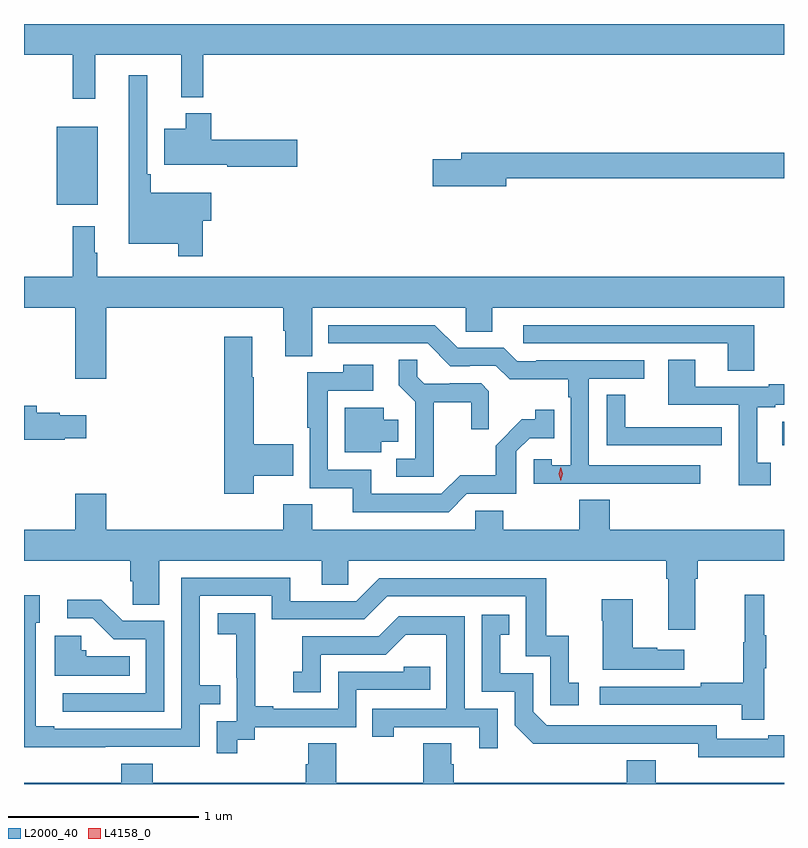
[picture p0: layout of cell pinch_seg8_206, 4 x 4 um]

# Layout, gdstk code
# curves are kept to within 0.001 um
import gdstk
lib = gdstk.Library(unit=1e-6, precision=1e-09)
def R(c, l, rs):  # rectangles x0, y0, x1, y1
    for r in rs: c.add(gdstk.rectangle(r[:2], r[2:], *l))
def P(c, l, *ps):  # polygons
    for p in ps: c.add(gdstk.Polygon(p, *l))
L2000_40 = (2000, 40)
L4158_0 = (4158, 0)

pinch_seg8_206 = lib.new_cell('pinch_seg8_206')
R(pinch_seg8_206, L2000_40, [(636.261,1097.127,636.271,1097.251), (632.444,1098.395,632.659,1098.805)])
P(pinch_seg8_206, L2000_40, [(636.271,1099.345),(632.271,1099.345),(632.271,1099.184),(632.527,1099.184),(632.527,1098.951),(632.645,1098.951),(632.645,1099.184),(633.098,1099.184),(633.098,1098.959),(633.215,1098.959),(633.215,1099.184),(636.271,1099.184)],
  [(633.212,1098.31),(633.256,1098.31),(633.256,1098.457),(632.939,1098.457),(632.939,1098.553),(632.919,1098.553),(632.919,1099.075),(632.822,1099.075),(632.822,1098.188),(633.084,1098.188),(633.084,1098.123),(633.212,1098.123)],
  [(633.709,1098.735),(633.257,1098.735),(633.257,1098.874),(633.122,1098.874),(633.122,1098.793),(633.008,1098.793),(633.008,1098.605),(633.34,1098.605),(633.34,1098.593),(633.709,1098.593)],
  [(634.81,1098.532),(636.271,1098.532),(636.271,1098.668),(634.571,1098.668),(634.571,1098.632),(634.422,1098.632),(634.422,1098.49),(634.81,1098.49)],
  [(632.704,1097.852),(633.635,1097.852),(633.635,1097.73),(633.647,1097.73),(633.647,1097.596),(633.787,1097.596),(633.787,1097.852),(634.596,1097.852),(634.596,1097.725),(634.735,1097.725),(634.735,1097.852),(636.271,1097.852),(636.271,1098.016),(632.656,1098.016),(632.656,1098.14),(632.644,1098.14),(632.644,1098.28),(632.527,1098.28),(632.527,1098.016),(632.271,1098.016),(632.271,1097.852),(632.54,1097.852),(632.54,1097.478),(632.704,1097.478)],
  [(636.115,1097.76),(634.899,1097.76),(634.899,1097.664),(635.975,1097.664),(635.975,1097.521),(636.115,1097.521)],
  [(635.83,1097.022),(635.244,1097.022),(635.244,1097.478),(635.536,1097.478),(635.536,1097.574),(634.966,1097.574),(634.966,1097.571),(634.866,1097.571),(634.797,1097.64),(634.554,1097.64),(634.434,1097.76),(633.872,1097.76),(633.872,1097.664),(634.395,1097.664),(634.515,1097.544),(634.616,1097.544),(634.616,1097.547),(634.755,1097.547),(634.828,1097.474),(635.136,1097.474),(635.136,1097.381),(635.148,1097.381),(635.148,1097.023),(635.049,1097.023),(635.049,1097.055),(634.953,1097.055),(634.953,1096.926),(635.437,1096.926),(635.437,1096.924),(635.83,1096.924)],
  [(633.48,1096.967),(633.689,1096.967),(633.689,1097.133),(633.48,1097.133),(633.48,1097.485),(633.472,1097.485),(633.472,1097.698),(633.326,1097.698),(633.326,1096.872),(633.48,1096.872)],
  [(636.202,1097.037),(636.13,1097.037),(636.13,1097.328),(636.226,1097.328),(636.226,1097.34),(636.271,1097.34),(636.271,1097.449),(636.191,1097.449),(636.191,1097.436),(635.803,1097.436),(635.803,1097.579),(635.663,1097.579),(635.663,1097.34),(636.033,1097.34),(636.033,1096.917),(636.202,1096.917)],
  [(634.427,1097.354),(634.624,1097.354),(634.624,1097.211),(634.718,1097.211),(634.718,1097.413),(634.677,1097.454),(634.512,1097.454),(634.512,1097.451),(634.378,1097.451),(634.341,1097.488),(634.341,1097.579),(634.243,1097.579),(634.243,1097.443),(634.329,1097.357),(634.329,1097.058),(634.23,1097.058),(634.23,1096.962),(634.427,1096.962)],
  [(634.602,1096.872),(634.863,1096.872),(634.863,1097.097),(634.932,1097.166),(635.063,1097.166),(635.063,1097.314),(634.962,1097.314),(634.962,1097.264),(634.892,1097.264),(634.755,1097.126),(634.755,1096.971),(634.566,1096.971),(634.467,1096.872),(634.099,1096.872),(634.099,1096.998),(633.87,1096.998),(633.87,1097.415),(634.108,1097.415),(634.108,1097.551),(633.952,1097.551),(633.952,1097.511),(633.762,1097.511),(633.762,1097.221),(633.774,1097.221),(633.774,1096.902),(634.001,1096.902),(634.001,1096.776),(634.506,1096.776)],
  [(635.944,1097.222),(635.831,1097.222),(635.831,1097.223),(635.436,1097.223),(635.436,1097.393),(635.337,1097.393),(635.337,1097.127),(635.944,1097.127)],
  [(632.486,1097.165),(632.599,1097.165),(632.599,1097.287),(632.46,1097.287),(632.46,1097.3),(632.338,1097.3),(632.338,1097.336),(632.271,1097.336),(632.271,1097.158),(632.486,1097.158)],
  [(634.15,1097.147),(634.24,1097.147),(634.24,1097.263),(634.165,1097.263),(634.165,1097.326),(633.959,1097.326),(633.959,1097.09),(634.15,1097.09)],
  [(635.194,1096.841),(635.194,1096.684),(634.794,1096.684),(634.794,1096.782),(634.647,1096.782),(634.647,1096.684),(633.787,1096.684),(633.787,1096.817),(633.635,1096.817),(633.635,1096.684),(632.704,1096.684),(632.704,1096.873),(632.54,1096.873),(632.54,1096.684),(632.271,1096.684),(632.271,1096.52),(632.831,1096.52),(632.831,1096.411),(632.844,1096.411),(632.844,1096.288),(632.983,1096.288),(632.983,1096.52),(633.839,1096.52),(633.839,1096.393),(633.978,1096.393),(633.978,1096.52),(635.651,1096.52),(635.651,1096.424),(635.663,1096.424),(635.663,1096.158),(635.803,1096.158),(635.803,1096.424),(635.816,1096.424),(635.816,1096.52),(636.271,1096.52),(636.271,1096.684),(635.354,1096.684),(635.354,1096.841)],
  [(632.699,1095.54),(633.195,1095.54),(633.195,1095.765),(633.305,1095.765),(633.305,1095.866),(633.195,1095.866),(633.195,1096.335),(633.576,1096.335),(633.576,1096.212),(634.062,1096.212),(634.182,1096.332),(634.911,1096.332),(634.911,1096.017),(635.04,1096.017),(635.04,1095.759),(635.191,1095.759),(635.191,1095.879),(635.138,1095.879),(635.138,1096.126),(635.02,1096.126),(635.02,1096.428),(634.14,1096.428),(634.02,1096.308),(633.673,1096.308),(633.673,1096.431),(633.099,1096.431),(633.099,1095.636),(632.431,1095.636),(632.431,1095.649),(632.334,1095.649),(632.334,1096.194),(632.353,1096.194),(632.353,1096.339),(632.271,1096.339),(632.271,1095.539)],
  [(636.167,1095.955),(636.178,1095.955),(636.178,1096.129),(636.167,1096.129),(636.167,1096.342),(636.064,1096.342),(636.064,1096.092),(636.057,1096.092),(636.057,1095.878),(635.833,1095.878),(635.833,1095.858),(635.301,1095.858),(635.301,1095.762),(636.049,1095.762),(636.049,1095.684),(636.167,1095.684)],
  [(635.746,1096.051),(635.603,1096.051),(635.603,1096.061),(635.476,1096.061),(635.476,1096.318),(635.311,1096.318),(635.311,1096.205),(635.318,1096.205),(635.318,1095.947),(635.746,1095.947)],
  [(633.009,1096.203),(632.79,1096.203),(632.677,1096.316),(632.499,1096.316),(632.499,1096.218),(632.633,1096.218),(632.744,1096.107),(632.913,1096.107),(632.913,1095.822),(632.475,1095.822),(632.475,1095.726),(633.009,1095.726)],
  [(633.394,1095.577),(633.486,1095.577),(633.486,1095.645),(634.02,1095.645),(634.02,1095.84),(634.409,1095.84),(634.409,1095.963),(634.269,1095.963),(634.269,1095.936),(633.924,1095.936),(633.924,1095.741),(633.583,1095.741),(633.583,1095.754),(633.488,1095.754),(633.488,1096.037),(633.489,1096.037),(633.489,1096.243),(633.291,1096.243),(633.291,1096.133),(633.389,1096.133),(633.389,1095.905),(633.39,1095.905),(633.39,1095.675),(633.285,1095.675),(633.285,1095.507),(633.394,1095.507)],
  [(636.188,1095.486),(636.271,1095.486),(636.271,1095.602),(636.188,1095.602),(636.188,1095.582),(635.916,1095.582),(635.916,1095.654),(635.022,1095.654),(634.95,1095.726),(634.95,1095.927),(634.777,1095.927),(634.777,1096.131),(634.826,1096.131),(634.826,1096.237),(634.68,1096.237),(634.68,1095.831),(634.854,1095.831),(634.854,1095.654),(634.952,1095.557),(635.82,1095.558),(635.82,1095.485)],
  [(634.764,1095.741),(634.59,1095.741),(634.59,1096.227),(634.244,1096.227),(634.139,1096.122),(633.736,1096.122),(633.736,1095.937),(633.687,1095.937),(633.687,1095.828),(633.834,1095.828),(633.834,1096.026),(634.176,1096.026),(634.28,1096.13),(634.494,1096.13),(634.494,1095.741),(634.105,1095.741),(634.105,1095.594),(634.216,1095.594),(634.216,1095.645),(634.667,1095.645),(634.667,1095.534),(634.764,1095.534)],
  [(632.828,1096.018),(632.598,1096.018),(632.598,1096.05),(632.571,1096.05),(632.571,1096.126),(632.432,1096.126),(632.432,1095.914),(632.828,1095.914)],
  [(636.271,1095.352),(635.596,1095.352),(635.596,1095.469),(635.444,1095.469),(635.444,1095.352),(634.532,1095.352),(634.532,1095.45),(634.519,1095.45),(634.519,1095.56),(634.372,1095.56),(634.372,1095.352),(633.915,1095.352),(633.915,1095.56),(633.767,1095.56),(633.767,1095.45),(633.755,1095.45),(633.755,1095.352),(632.948,1095.352),(632.948,1095.451),(632.783,1095.451),(632.783,1095.352),(632.271,1095.352),(632.271,1095.345),(636.271,1095.345)])
P(pinch_seg8_206, L4158_0, [(635.097,1096.941),(635.097,1096.941),(635.086,1096.977),(635.095,1097.013),(635.095,1097.013),(635.095,1097.013),(635.106,1096.977),(635.097,1096.941)])

lib.write_gds('pinch_seg8_206.gds')
